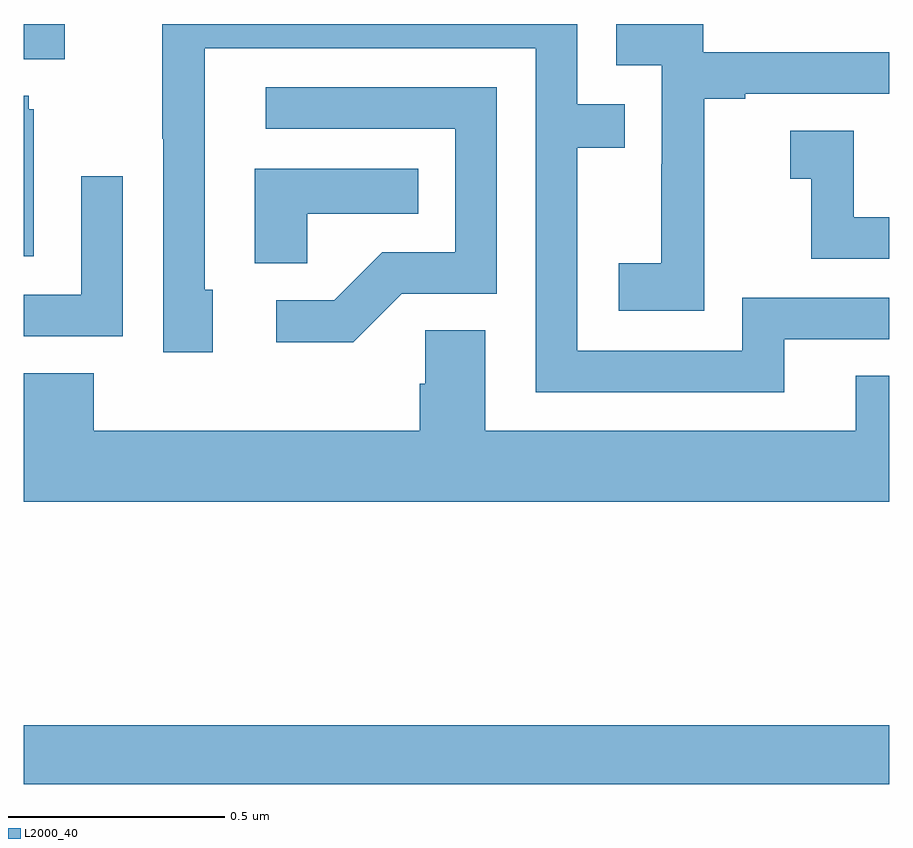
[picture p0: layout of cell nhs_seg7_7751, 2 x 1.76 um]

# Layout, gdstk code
import gdstk
lib = gdstk.Library(unit=1e-6, precision=1e-09)
def R(c, l, rs):  # rectangles x0, y0, x1, y1
    for r in rs: c.add(gdstk.rectangle(r[:2], r[2:], *l))
def P(c, l, *ps):  # polygons
    for p in ps: c.add(gdstk.Polygon(p, *l))
L2000_40 = (2000, 40)

nhs_seg7_7751 = lib.new_cell('nhs_seg7_7751')
R(nhs_seg7_7751, L2000_40, [(215,1053.244,217,1053.38), (215,1054.919,215.095,1055)])
P(nhs_seg7_7751, L2000_40, [(216.757,1054.272),(217,1054.272),(217,1054.368),(216.66,1054.368),(216.66,1054.245),(216.279,1054.245),(216.279,1054.714),(216.389,1054.714),(216.389,1054.815),(216.279,1054.815),(216.279,1055),(215.32,1055),(215.32,1054.735),(215.322,1054.735),(215.322,1054.242),(215.437,1054.242),(215.437,1054.386),(215.418,1054.386),(215.418,1054.944),(216.183,1054.944),(216.183,1054.149),(216.757,1054.149)],
  [(216.573,1054.543),(216.572,1054.543),(216.572,1054.827),(216.667,1054.827),(216.667,1054.839),(217,1054.839),(217,1054.935),(216.57,1054.935),(216.57,1055),(216.369,1055),(216.369,1054.905),(216.474,1054.905),(216.474,1054.676),(216.473,1054.676),(216.473,1054.447),(216.375,1054.447),(216.375,1054.337),(216.573,1054.337)],
  [(215.874,1054.377),(216.093,1054.377),(216.093,1054.854),(215.559,1054.854),(215.559,1054.758),(215.997,1054.758),(215.997,1054.473),(215.828,1054.473),(215.717,1054.362),(215.583,1054.362),(215.583,1054.265),(215.761,1054.265)],
  [(215.023,1054.803),(215.012,1054.803),(215.012,1054.834),(215,1054.834),(215,1054.463),(215.023,1054.463)],
  [(217,1054.554),(216.918,1054.554),(216.918,1054.753),(216.771,1054.753),(216.771,1054.643),(216.82,1054.643),(216.82,1054.458),(217,1054.458)],
  [(215.655,1054.562),(215.912,1054.562),(215.912,1054.666),(215.534,1054.666),(215.534,1054.447),(215.655,1054.447)],
  [(215.229,1054.648),(215.133,1054.648),(215.133,1054.374),(215,1054.374),(215,1054.278),(215.229,1054.278)],
  [(217,1054.187),(216.923,1054.187),(216.923,1054.06),(216.067,1054.06),(216.067,1054.292),(215.928,1054.292),(215.928,1054.169),(215.915,1054.169),(215.915,1054.06),(215.162,1054.06),(215.162,1054.193),(215,1054.193),(215,1053.896),(217,1053.896)])

lib.write_gds('nhs_seg7_7751.gds')
